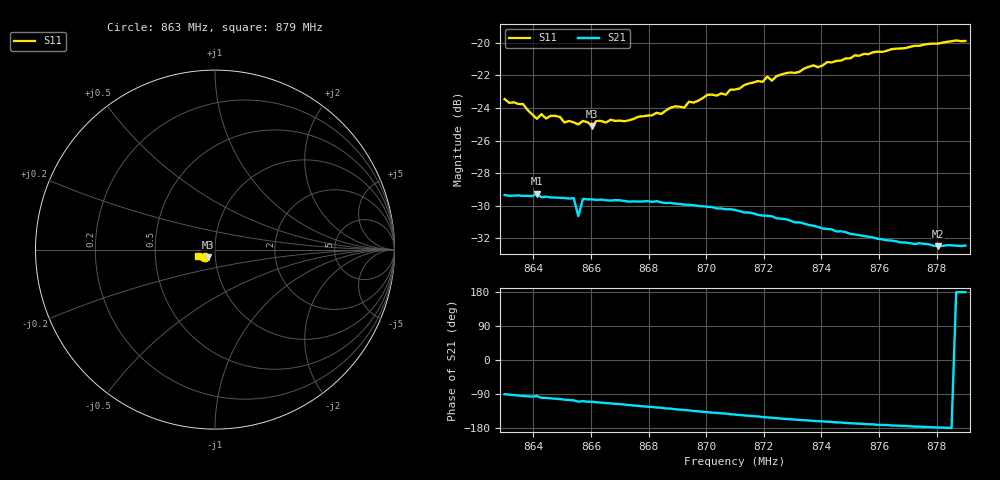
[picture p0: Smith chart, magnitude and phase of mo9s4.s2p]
# HZ S RI R 50
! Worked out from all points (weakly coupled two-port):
!   101 points, 863 MHz to 879 MHz, reference 50 ohm
!   highest |S21| = -29.27 dB at 864.12 MHz (marker M1); lowest = -32.5 dB at 878.04 MHz (marker M2)
!   lowest |S11| = -25.1 dB at 866.04 MHz (marker M3), VSWR 1.12, Z = 46.3 - j3.83 ohm
!   |S11| at or under -10 dB: start of sweep to end of sweep
!   S12 and S22 are empty: the file has one direction only
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8.63e8  -0.0534 -0.0408  -0.00012 -0.0341  0 0  0 0
8.6364e8  -0.051 -0.0401  -0.00297 -0.0338  0 0  0 0
8.6412e8  -0.0424 -0.0402  -0.00308 -0.0343  0 0  0 0
8.6428e8  -0.046 -0.0392  -0.00577 -0.0331  0 0  0 0
8.6444e8  -0.0442 -0.0385  -0.00588 -0.0332  0 0  0 0
8.654e8  -0.0399 -0.0407  -0.00946 -0.032  0 0  0 0
8.6556e8  -0.0392 -0.0403  -0.01 -0.0276  0 0  0 0
8.6572e8  -0.0389 -0.0425  -0.0106 -0.0314  0 0  0 0
8.6604e8  -0.0372 -0.0413  -0.0114 -0.031  0 0  0 0
8.662e8  -0.0388 -0.0428  -0.0121 -0.0306  0 0  0 0
8.6716e8  -0.0355 -0.0452  -0.0151 -0.029  0 0  0 0
8.6844e8  -0.0358 -0.0488  -0.0191 -0.0262  0 0  0 0
8.6892e8  -0.0366 -0.0523  -0.0206 -0.0246  0 0  0 0
8.6924e8  -0.0367 -0.0516  -0.0213 -0.0237  0 0  0 0
8.694e8  -0.037 -0.0546  -0.0217 -0.0233  0 0  0 0
8.7004e8  -0.0403 -0.0564  -0.0231 -0.0212  0 0  0 0
8.7068e8  -0.0396 -0.0569  -0.0241 -0.0192  0 0  0 0
8.71e8  -0.0426 -0.0579  -0.0248 -0.018  0 0  0 0
8.7372e8  -0.059 -0.0616  -0.0259 -0.00903  0 0  0 0
8.7644e8  -0.0797 -0.0529  -0.0245 -0.00307  0 0  0 0
8.7804e8  -0.0896 -0.0432  -0.0237 -0.000804  0 0  0 0
8.79e8  -0.0953 -0.0347  -0.0239 0.000399  0 0  0 0
